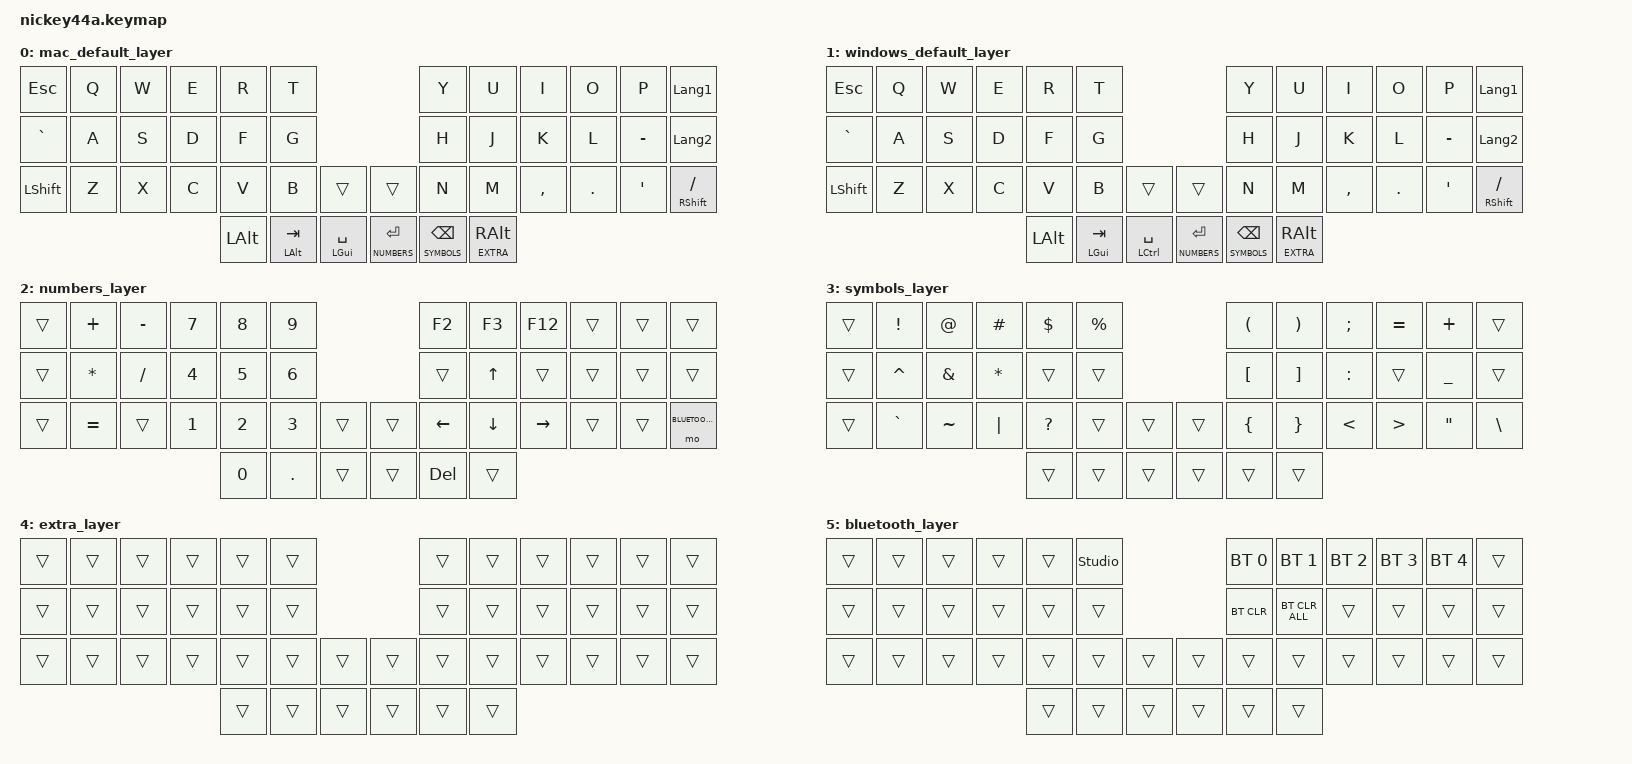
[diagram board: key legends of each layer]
#include <behaviors.dtsi>
#include <dt-bindings/zmk/bt.h>
#include <dt-bindings/zmk/keys.h>

#define NUMBERS 2
#define SYMBOLS 3
#define EXTRA 4
#define BLUETOOTH 5

&mt {
    flavor = "balanced";
    quick-tap-ms = <0>;
};

&lt {
    quick-tap-ms = <300>;
    flavor = "balanced";
};

/ {
    combos {
        compatible = "zmk,combos";

        desktop_left {
            bindings = <&kp LG(RC(LEFT_ARROW))>;
            key-positions = <2 1>;
        };

        desktop_right {
            bindings = <&kp LG(LC(RIGHT_ARROW))>;
            key-positions = <10 9>;
        };
    };

    keymap {
        compatible = "zmk,keymap";

        mac_default_layer {
            bindings = <
&kp ESCAPE  &kp Q  &kp W  &kp E  &kp R         &kp T                                                      &kp Y                  &kp U                &kp I      &kp O    &kp P             &kp LANGUAGE_1
&kp GRAVE   &kp A  &kp S  &kp D  &kp F         &kp G                                                      &kp H                  &kp J                &kp K      &kp L    &kp MINUS         &kp LANGUAGE_2
&kp LSHFT   &kp Z  &kp X  &kp C  &kp V         &kp B             &trans                &trans             &kp N                  &kp M                &kp COMMA  &kp DOT  &kp SINGLE_QUOTE  &mt RSHIFT SLASH
                                 &kp LEFT_ALT  &mt LEFT_ALT TAB  &mt LEFT_GUI SPACE    &lt NUMBERS ENTER  &lt SYMBOLS BACKSPACE  &lt EXTRA RIGHT_ALT
            >;
        };

        windows_default: windows_default_layer {
            bindings = <
&kp ESCAPE  &kp Q  &kp W  &kp E  &kp R         &kp T                                                          &kp Y                  &kp U                &kp I      &kp O    &kp P             &kp LANGUAGE_1
&kp GRAVE   &kp A  &kp S  &kp D  &kp F         &kp G                                                          &kp H                  &kp J                &kp K      &kp L    &kp MINUS         &kp LANGUAGE_2
&kp LSHFT   &kp Z  &kp X  &kp C  &kp V         &kp B             &trans                    &trans             &kp N                  &kp M                &kp COMMA  &kp DOT  &kp SINGLE_QUOTE  &mt RSHIFT SLASH
                                 &kp LEFT_ALT  &mt LEFT_GUI TAB  &mt LEFT_CONTROL SPACE    &lt NUMBERS ENTER  &lt SYMBOLS BACKSPACE  &lt EXTRA RIGHT_ALT
            >;
        };

        numbers_layer {
            bindings = <
&trans  &kp PLUS      &kp MINUS  &kp NUMBER_7  &kp NUMBER_8  &kp NUMBER_9                    &kp F2          &kp F3          &kp F12          &trans  &trans  &trans
&trans  &kp ASTERISK  &kp SLASH  &kp NUMBER_4  &kp NUMBER_5  &kp NUMBER_6                    &trans          &kp UP_ARROW    &trans           &trans  &trans  &trans
&trans  &kp EQUAL     &trans     &kp NUMBER_1  &kp NUMBER_2  &kp NUMBER_3  &trans    &trans  &kp LEFT_ARROW  &kp DOWN_ARROW  &kp RIGHT_ARROW  &trans  &trans  &mo BLUETOOTH
                                               &kp NUMBER_0  &kp PERIOD    &trans    &trans  &kp DELETE      &trans
            >;
        };

        symbols_layer {
            bindings = <
&trans  &kp EXCLAMATION  &kp AT_SIGN    &kp HASH      &kp DOLLAR    &kp PERCENT                    &kp LEFT_PARENTHESIS  &kp RIGHT_PARENTHESIS  &kp SEMICOLON  &kp EQUAL         &kp PLUS           &trans
&trans  &kp CARET        &kp AMPERSAND  &kp ASTERISK  &trans        &trans                         &kp LEFT_BRACKET      &kp RIGHT_BRACKET      &kp COLON      &trans            &kp UNDERSCORE     &trans
&trans  &kp GRAVE        &kp TILDE      &kp PIPE      &kp QUESTION  &trans       &trans    &trans  &kp LEFT_BRACE        &kp RIGHT_BRACE        &kp LESS_THAN  &kp GREATER_THAN  &kp DOUBLE_QUOTES  &kp BACKSLASH
                                                      &trans        &trans       &trans    &trans  &trans                &trans
            >;
        };

        extra_layer {
            bindings = <
&trans  &trans  &trans  &trans  &trans  &trans                    &trans  &trans  &trans  &trans  &trans  &trans
&trans  &trans  &trans  &trans  &trans  &trans                    &trans  &trans  &trans  &trans  &trans  &trans
&trans  &trans  &trans  &trans  &trans  &trans  &trans    &trans  &trans  &trans  &trans  &trans  &trans  &trans
                                &trans  &trans  &trans    &trans  &trans  &trans
            >;
        };

        bluetooth_layer {
            bindings = <
&trans  &trans  &trans  &trans  &trans  &studio_unlock                    &bt BT_SEL 0  &bt BT_SEL 1    &bt BT_SEL 2  &bt BT_SEL 3  &bt BT_SEL 4  &trans
&trans  &trans  &trans  &trans  &trans  &trans                            &bt BT_CLR    &bt BT_CLR_ALL  &trans        &trans        &trans        &trans
&trans  &trans  &trans  &trans  &trans  &trans          &trans    &trans  &trans        &trans          &trans        &trans        &trans        &trans
                                &trans  &trans          &trans    &trans  &trans        &trans
            >;
        };
    };
};
